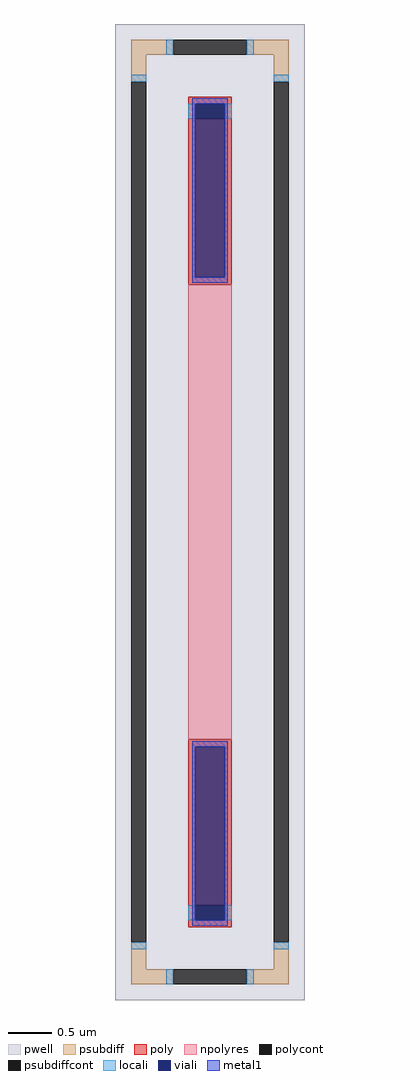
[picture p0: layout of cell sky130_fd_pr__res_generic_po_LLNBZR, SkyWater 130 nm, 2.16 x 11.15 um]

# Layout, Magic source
magic
tech sky130A
magscale 1 2
<< pwell >>
rect -216 -1115 216 1115
<< psubdiff >>
rect -180 1045 -84 1079
rect 84 1045 180 1079
rect -180 983 -146 1045
rect 146 983 180 1045
rect -180 -1045 -146 -983
rect 146 -1045 180 -983
rect -180 -1079 -84 -1045
rect 84 -1079 180 -1045
<< psubdiffcont >>
rect -84 1045 84 1079
rect -180 -983 -146 983
rect 146 -983 180 983
rect -84 -1079 84 -1045
<< poly >>
rect -50 933 50 949
rect -50 899 -34 933
rect 34 899 50 933
rect -50 519 50 899
rect -50 -899 50 -519
rect -50 -933 -34 -899
rect 34 -933 50 -899
rect -50 -949 50 -933
<< polycont >>
rect -34 899 34 933
rect -34 -933 34 -899
<< npolyres >>
rect -50 -519 50 519
<< locali >>
rect -100 1045 -84 1079
rect 84 1045 100 1079
rect -180 983 -146 999
rect 146 983 180 999
rect -50 899 -34 933
rect 34 899 50 933
rect -50 -933 -34 -899
rect 34 -933 50 -899
rect -180 -999 -146 -983
rect 146 -999 180 -983
rect -100 -1079 -84 -1045
rect 84 -1079 100 -1045
<< viali >>
rect -34 899 34 933
rect -34 536 34 899
rect -34 -899 34 -536
rect -34 -933 34 -899
<< metal1 >>
rect -40 933 40 945
rect -40 536 -34 933
rect 34 536 40 933
rect -40 524 40 536
rect -40 -536 40 -524
rect -40 -933 -34 -536
rect 34 -933 40 -536
rect -40 -945 40 -933
<< properties >>
string FIXED_BBOX -163 -1062 163 1062
string gencell sky130_fd_pr__res_generic_po
string library sky130
string parameters w 0.5 l 5.187 m 1 nx 1 wmin 0.330 lmin 1.650 rho 48.2 val 500.026 dummy 0 dw 0.0 term 0.0 sterm 0.0 caplen 0.4 snake 0 guard 1 glc 1 grc 1 gtc 1 gbc 1 roverlap 0 endcov 100 full_metal 0 hv_guard 0 n_guard 0 vias 1 viagb 0 viagt 0 viagl 0 viagr 0
<< end >>
